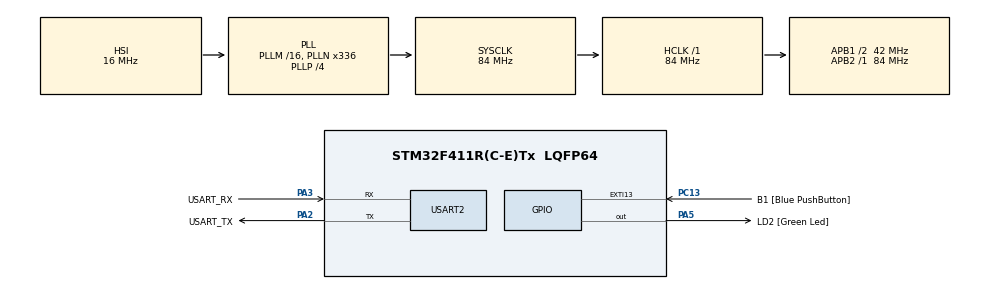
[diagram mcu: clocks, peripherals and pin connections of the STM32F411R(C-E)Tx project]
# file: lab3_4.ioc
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FREERTOS.BinarySemaphores01=Sem,Dynamic,NULL
FREERTOS.Queues01=myQueue01,64,message_t,0,Dynamic,NULL,NULL
FREERTOS.Tasks01=defaultTask,0,128,StartDefaultTask,Default,NULL,Dynamic,NULL,NULL
Mcu.Family=STM32F4
Mcu.Name=STM32F411R(C-E)Tx
Mcu.Package=LQFP64
NVIC.PriorityGroup=NVIC_PRIORITYGROUP_4
NVIC.TIM1_UP_TIM10_IRQn=true\:0\:0\:false\:false\:true\:false\:false\:true
NVIC.TimeBase=TIM1_UP_TIM10_IRQn
NVIC.TimeBaseIP=TIM1
PA13.GPIO_Label=TMS
PA13.Mode=Serial_Wire
PA13.Signal=SYS_JTMS-SWDIO
PA14.GPIO_Label=TCK
PA14.Mode=Serial_Wire
PA14.Signal=SYS_JTCK-SWCLK
PA2.GPIO_Label=USART_TX
PA2.Mode=Asynchronous
PA2.Signal=USART2_TX
PA3.GPIO_Label=USART_RX
PA3.Mode=Asynchronous
PA3.Signal=USART2_RX
PA5.GPIO_Label=LD2 [Green Led]
PA5.Signal=GPIO_Output
PB3.GPIO_Label=SWO
PB3.Signal=SYS_JTDO-SWO
PC13-ANTI_TAMP.GPIO_Label=B1 [Blue PushButton]
PC13-ANTI_TAMP.GPIO_ModeDefaultEXTI=GPIO_MODE_IT_FALLING
PC13-ANTI_TAMP.Signal=GPXTI13
PC14-OSC32_IN.Mode=LSE-External-Oscillator
PC14-OSC32_IN.Signal=RCC_OSC32_IN
PC15-OSC32_OUT.Mode=LSE-External-Oscillator
PC15-OSC32_OUT.Signal=RCC_OSC32_OUT
PH0\ -\ OSC_IN.Mode=HSE-External-Clock-Source
PH0\ -\ OSC_IN.Signal=RCC_OSC_IN
PH1\ -\ OSC_OUT.Mode=HSE-External-Clock-Source
PH1\ -\ OSC_OUT.Signal=RCC_OSC_OUT
ProjectManager.HeapSize=0x200
ProjectManager.StackSize=0x400
ProjectManager.TargetToolchain=STM32CubeIDE
RCC.48MHZClocksFreq_Value=84000000
RCC.AHBFreq_Value=84000000
RCC.APB1CLKDivider=RCC_HCLK_DIV2
RCC.APB1Freq_Value=42000000
RCC.APB1TimFreq_Value=84000000
RCC.APB2Freq_Value=84000000
RCC.APB2TimFreq_Value=84000000
RCC.CortexFreq_Value=84000000
RCC.FLatency-AdvancedSettings=FLASH_LATENCY_2
RCC.HCLKFreq_Value=84000000
RCC.HSE_VALUE=8000000
RCC.HSI_VALUE=16000000
RCC.PLLN=336
RCC.PLLP=RCC_PLLP_DIV4
RCC.SYSCLKFreq_VALUE=84000000
RCC.SYSCLKSource=RCC_SYSCLKSOURCE_PLLCLK
RCC.VCOOutputFreq_Value=336000000
USART2.VirtualMode=VM_ASYNC
VP_FREERTOS_VS_CMSIS_V1.Mode=CMSIS_V1
VP_SYS_VS_tim1.Mode=TIM1
board=NUCLEO-F411RE

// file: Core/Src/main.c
/* USER CODE BEGIN Header */
/**
  ******************************************************************************
  * @file           : main.c
  * @brief          : Main program body
  ******************************************************************************
  * @attention
  *
  * <h2><center>&copy; Copyright (c) 2021 STMicroelectronics.
  * All rights reserved.</center></h2>
  *
  * This software component is licensed by ST under Ultimate Liberty license
  * SLA0044, the "License"; You may not use this file except in compliance with
  * the License. You may obtain a copy of the License at:
  *                             www.st.com/SLA0044
  *
  ******************************************************************************
  */
/* USER CODE END Header */
#include "main.h"
#include "cmsis_os.h"

UART_HandleTypeDef huart2;

osThreadId defaultTaskHandle;
osMessageQId myQueue01Handle;
osSemaphoreId SemHandle;

void SystemClock_Config(void);
static void MX_GPIO_Init(void);
static void MX_USART2_UART_Init(void);
void StartDefaultTask(void const * argument);

/* USER CODE BEGIN 0 */
typedef struct {
    int threadID;
    int idx;
} message_t;
/* USER CODE END 0 */

int main(void)
{

  /* MCU Configuration--------------------------------------------------------*/

  /* Reset of all peripherals, Initializes the Flash interface and the Systick. */
  HAL_Init();

  /* Configure the system clock */
  SystemClock_Config();

  /* Initialize all configured peripherals */
  MX_GPIO_Init();
  MX_USART2_UART_Init();

  /* Create the semaphores(s) */
  /* definition and creation of Sem */
  osSemaphoreDef(Sem);
  SemHandle = osSemaphoreCreate(osSemaphore(Sem), 1);

  /* Create the queue(s) */
  /* definition and creation of myQueue01 */
  osMessageQDef(myQueue01, 64, message_t);
  myQueue01Handle = osMessageCreate(osMessageQ(myQueue01), NULL);

  /* Create the thread(s) */
  /* definition and creation of defaultTask */
  osThreadDef(defaultTask, StartDefaultTask, osPriorityNormal, 0, 128);
  defaultTaskHandle = osThreadCreate(osThread(defaultTask), NULL);

  /* Start scheduler */
  osKernelStart();

  /* We should never get here as control is now taken by the scheduler */
  /* Infinite loop */
  while (1)
  {

  }
}

void SystemClock_Config(void)
{
  RCC_OscInitTypeDef RCC_OscInitStruct = {0};
  RCC_ClkInitTypeDef RCC_ClkInitStruct = {0};

  /** Configure the main internal regulator output voltage
  */
  __HAL_RCC_PWR_CLK_ENABLE();
  __HAL_PWR_VOLTAGESCALING_CONFIG(PWR_REGULATOR_VOLTAGE_SCALE1);
  /** Initializes the RCC Oscillators according to the specified parameters
  * in the RCC_OscInitTypeDef structure.
  */
  RCC_OscInitStruct.OscillatorType = RCC_OSCILLATORTYPE_HSI;
  RCC_OscInitStruct.HSIState = RCC_HSI_ON;
  RCC_OscInitStruct.HSICalibrationValue = RCC_HSICALIBRATION_DEFAULT;
  RCC_OscInitStruct.PLL.PLLState = RCC_PLL_ON;
  RCC_OscInitStruct.PLL.PLLSource = RCC_PLLSOURCE_HSI;
  RCC_OscInitStruct.PLL.PLLM = 16;
  RCC_OscInitStruct.PLL.PLLN = 336;
  RCC_OscInitStruct.PLL.PLLP = RCC_PLLP_DIV4;
  RCC_OscInitStruct.PLL.PLLQ = 4;
  if (HAL_RCC_OscConfig(&RCC_OscInitStruct) != HAL_OK)
  {
    Error_Handler();
  }
  /** Initializes the CPU, AHB and APB buses clocks
  */
  RCC_ClkInitStruct.ClockType = RCC_CLOCKTYPE_HCLK|RCC_CLOCKTYPE_SYSCLK
                              |RCC_CLOCKTYPE_PCLK1|RCC_CLOCKTYPE_PCLK2;
  RCC_ClkInitStruct.SYSCLKSource = RCC_SYSCLKSOURCE_PLLCLK;
  RCC_ClkInitStruct.AHBCLKDivider = RCC_SYSCLK_DIV1;
  RCC_ClkInitStruct.APB1CLKDivider = RCC_HCLK_DIV2;
  RCC_ClkInitStruct.APB2CLKDivider = RCC_HCLK_DIV1;

  if (HAL_RCC_ClockConfig(&RCC_ClkInitStruct, FLASH_LATENCY_2) != HAL_OK)
  {
    Error_Handler();
  }
}

static void MX_USART2_UART_Init(void)
{

  huart2.Instance = USART2;
  huart2.Init.BaudRate = 115200;
  huart2.Init.WordLength = UART_WORDLENGTH_8B;
  huart2.Init.StopBits = UART_STOPBITS_1;
  huart2.Init.Parity = UART_PARITY_NONE;
  huart2.Init.Mode = UART_MODE_TX_RX;
  huart2.Init.HwFlowCtl = UART_HWCONTROL_NONE;
  huart2.Init.OverSampling = UART_OVERSAMPLING_16;
  if (HAL_UART_Init(&huart2) != HAL_OK)
  {
    Error_Handler();
  }

}

static void MX_GPIO_Init(void)
{
  GPIO_InitTypeDef GPIO_InitStruct = {0};

  /* GPIO Ports Clock Enable */
  __HAL_RCC_GPIOC_CLK_ENABLE();
  __HAL_RCC_GPIOH_CLK_ENABLE();
  __HAL_RCC_GPIOA_CLK_ENABLE();
  __HAL_RCC_GPIOB_CLK_ENABLE();

  /*Configure GPIO pin Output Level */
  HAL_GPIO_WritePin(LD2_GPIO_Port, LD2_Pin, GPIO_PIN_RESET);

  /*Configure GPIO pin : B1_Pin */
  GPIO_InitStruct.Pin = B1_Pin;
  GPIO_InitStruct.Mode = GPIO_MODE_IT_FALLING;
  GPIO_InitStruct.Pull = GPIO_NOPULL;
  HAL_GPIO_Init(B1_GPIO_Port, &GPIO_InitStruct);

  /*Configure GPIO pin : LD2_Pin */
  GPIO_InitStruct.Pin = LD2_Pin;
  GPIO_InitStruct.Mode = GPIO_MODE_OUTPUT_PP;
  GPIO_InitStruct.Pull = GPIO_NOPULL;
  GPIO_InitStruct.Speed = GPIO_SPEED_FREQ_LOW;
  HAL_GPIO_Init(LD2_GPIO_Port, &GPIO_InitStruct);

}

/* USER CODE BEGIN 4 */
void led_thread(void const *args) {
	while(1) {
		HAL_GPIO_TogglePin(GPIOA, GPIO_PIN_5);
		osDelay(18);
	}
}
void uart1_thread(void const *args) {
	while(1) {
		HAL_UART_Transmit(&huart2, "A", 1, 1000);
		osDelay(50);
	}
}
void uart2_thread(void const *args) {
	while(1) {
		HAL_UART_Transmit(&huart2, "B", 1, 1000);
		osDelay(128);
	}
}
void uartmsg1_thread(void const *args) {
	int threadID = 0; // threadID is 0 for one thread and 1 for
	int idx = 0;
	while(1) {
		message_t message = {threadID, idx};
		idx ++;
		osMessagePut(myQueue01Handle, (uint32_t)&message, osWaitForever);
		osDelay(100);
	}
}
void uartmsg2_thread(void const *args) {
	int threadID = 1; // threadID is 0 for one thread and 1 for
	int idx = 0;
	while(1) {
		message_t message = {threadID, idx};
		idx ++;
		osMessagePut(myQueue01Handle, (uint32_t)&message, osWaitForever);
		osDelay(100);
	}
}
void uartmsg_handler(void const *args) {
	char buffer[32];
	while(1) {
		osEvent evt = osMessageGet(myQueue01Handle, osWaitForever);
		if (evt.status == osEventMessage) {
			message_t *message = (message_t*)evt.value.p;
			sprintf(buffer, "TID: %d %d\r\n", message->threadID, message->idx);
			HAL_UART_Transmit(&huart2, &buffer, strlen(buffer), 1000);
		}
	}
}
/* USER CODE END 4 */

void StartDefaultTask(void const * argument)
{
  /* USER CODE BEGIN 5 */
	osThreadDef(led, led_thread, osPriorityNormal, 0, 128);
	osThreadCreate(osThread(led), NULL);
	osThreadDef(uart1, uart1_thread, osPriorityNormal, 0, 128);
	osThreadCreate(osThread(uart1), NULL);
	osThreadDef(uart2, uart2_thread, osPriorityNormal, 0, 128);
	osThreadCreate(osThread(uart2), NULL);

	osThreadDef(uartmsg1, uartmsg1_thread, osPriorityNormal, 0, 128);
	osThreadCreate(osThread(uartmsg1), NULL);
	osThreadDef(uartmsg2, uartmsg2_thread, osPriorityNormal, 0, 128);
	osThreadCreate(osThread(uartmsg2), NULL);

	osThreadDef(uarthandler, uartmsg_handler, osPriorityNormal, 0, 128);
	osThreadCreate(osThread(uarthandler), NULL);

  /* Infinite loop */
  for(;;)
  {
    osDelay(1);
  }
  /* USER CODE END 5 */
}

 /**
  * @brief  Period elapsed callback in non blocking mode
  * @note   This function is called  when TIM1 interrupt took place, inside
  * HAL_TIM_IRQHandler(). It makes a direct call to HAL_IncTick() to increment
  * a global variable "uwTick" used as application time base.
  * @param  htim : TIM handle
  * @retval None
  */
void HAL_TIM_PeriodElapsedCallback(TIM_HandleTypeDef *htim)
{
  if (htim->Instance == TIM1) {
    HAL_IncTick();
  }
}

void Error_Handler(void)
{
  __disable_irq();
  while (1)
  {
  }
}

/************************ (C) COPYRIGHT STMicroelectronics *****END OF FILE****/
